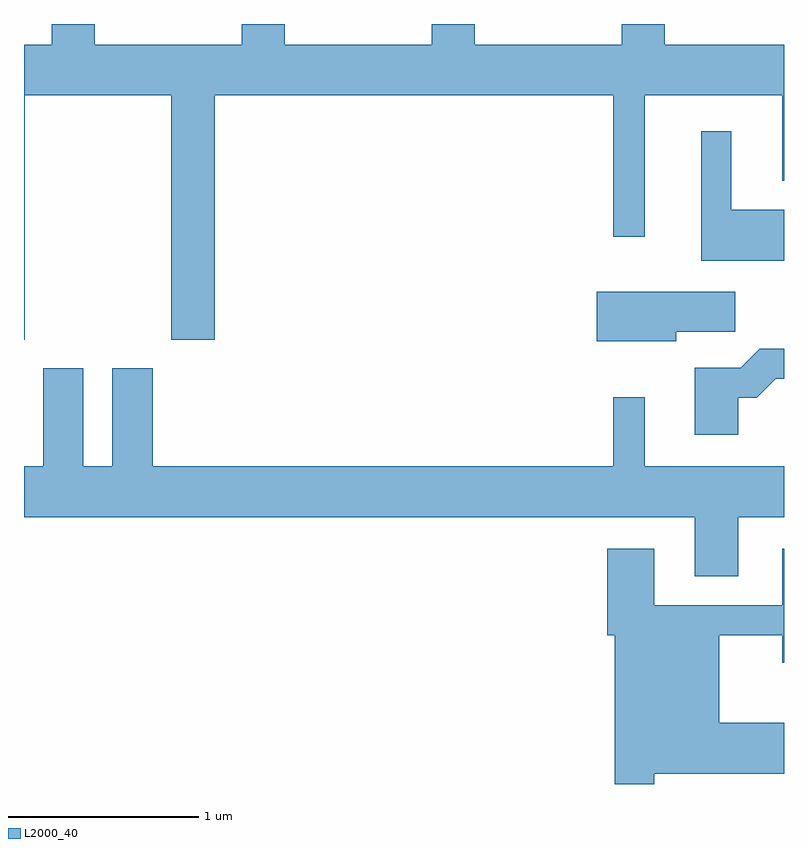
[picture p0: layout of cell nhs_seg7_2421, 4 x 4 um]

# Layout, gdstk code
import gdstk
lib = gdstk.Library(unit=1e-6, precision=1e-09)
def P(c, l, *ps):  # polygons
    for p in ps: c.add(gdstk.Polygon(p, *l))
L2000_40 = (2000, 40)

nhs_seg7_2421 = lib.new_cell('nhs_seg7_2421')
P(nhs_seg7_2421, L2000_40, [(259.614,1709.876),(260.386,1709.876),(260.386,1708.591),(260.614,1708.591),(260.614,1709.876),(262.711,1709.876),(262.711,1709.133),(262.879,1709.133),(262.879,1709.876),(263.601,1709.876),(263.601,1709.426),(263.611,1709.426),(263.611,1710.144),(262.984,1710.144),(262.984,1710.252),(262.756,1710.252),(262.756,1710.144),(261.984,1710.144),(261.984,1710.252),(261.756,1710.252),(261.756,1710.144),(260.984,1710.144),(260.984,1710.252),(260.756,1710.252),(260.756,1710.144),(259.984,1710.144),(259.984,1710.252),(259.756,1710.252),(259.756,1710.144),(259.611,1710.144),(259.611,1708.591),(259.614,1708.591)],
  [(263.611,1709.274),(263.334,1709.274),(263.334,1709.688),(263.176,1709.688),(263.176,1709.006),(263.611,1709.006)],
  [(263.044,1708.631),(263.354,1708.631),(263.354,1708.844),(262.626,1708.844),(262.626,1708.581),(263.044,1708.581)],
  [(263.369,1708.286),(263.467,1708.286),(263.567,1708.386),(263.611,1708.386),(263.611,1708.544),(263.484,1708.544),(263.384,1708.444),(263.141,1708.444),(263.141,1708.091),(263.369,1708.091)],
  [(263.369,1707.656),(263.611,1707.656),(263.611,1707.924),(262.879,1707.924),(262.879,1708.288),(262.711,1708.288),(262.711,1707.924),(260.289,1707.924),(260.289,1708.439),(260.076,1708.439),(260.076,1707.924),(259.924,1707.924),(259.924,1708.439),(259.711,1708.439),(259.711,1707.924),(259.611,1707.924),(259.611,1707.656),(263.141,1707.656),(263.141,1707.346),(263.369,1707.346)],
  [(262.929,1706.306),(263.611,1706.306),(263.611,1706.574),(263.269,1706.574),(263.269,1707.036),(263.601,1707.036),(263.601,1706.891),(263.611,1706.891),(263.611,1707.489),(263.601,1707.489),(263.601,1707.194),(262.929,1707.194),(262.929,1707.489),(262.681,1707.489),(262.681,1707.036),(262.721,1707.036),(262.721,1706.252),(262.929,1706.252)])

lib.write_gds('nhs_seg7_2421.gds')
